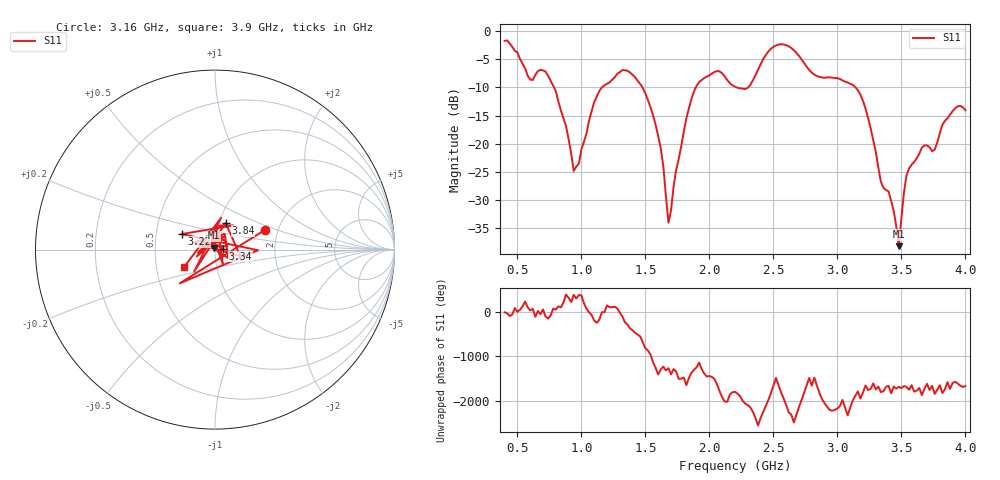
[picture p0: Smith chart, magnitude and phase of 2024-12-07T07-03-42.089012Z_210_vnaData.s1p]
!Created with skrf (http://scikit-rf.org).
# Hz S RI R 50.0
!freq ReS11 ImS11
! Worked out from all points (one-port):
!   181 points, 400 MHz to 4 GHz, reference 50 ohm
!   lowest |S11| = -38.2 dB at 3.48 GHz (marker M1), VSWR 1.02, Z = 49.3 + j1.03 ohm
!   |S11| at or under -10 dB: 786 MHz to 1.159 GHz (373.3 MHz wide, 38.4 % of centre); 1.476 GHz to 1.894 GHz (417.2 MHz wide, 24.8 % of centre); 3.142 GHz to end of sweep (the widest 3 of 4)
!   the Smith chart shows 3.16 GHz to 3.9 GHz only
!   S11 on the Smith chart (normalised r, x): 3.16 GHz: 1.71, +0.41; 3.22 GHz: 0.68, +0.12; 3.34 GHz: 1.10, +0.01; 3.84 GHz: 1.07, +0.33; 3.9 GHz: 0.70, -0.14
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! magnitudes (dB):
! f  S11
! 400 MHz  -1.7
! 600 MHz  -8.6
! 720 MHz  -7.2
! 860 MHz  -15.5
! 940 MHz  -24.8
! 1.12 GHz  -11.6
! 1.3 GHz  -7.3
! 1.54 GHz  -13.5
! 1.62 GHz  -20.8
! 1.68 GHz  -34.0
! 1.76 GHz  -22.7
! 1.92 GHz  -9.0
! 2.2 GHz  -9.9
! 2.3 GHz  -10.1
! 2.5 GHz  -2.8
! 2.66 GHz  -3.4
! 3.1 GHz  -9.3
! 3.16 GHz  -10.5
! 3.22 GHz  -13.8
! 3.34 GHz  -26.8
! 3.4 GHz  -28.5
! 3.48 GHz  -38.2
! 3.52 GHz  -28.7
! 3.56 GHz  -24.4
! 3.76 GHz  -21.1
! 3.84 GHz  -15.9
! 3.9 GHz  -14.2
! 4 GHz  -14.0
